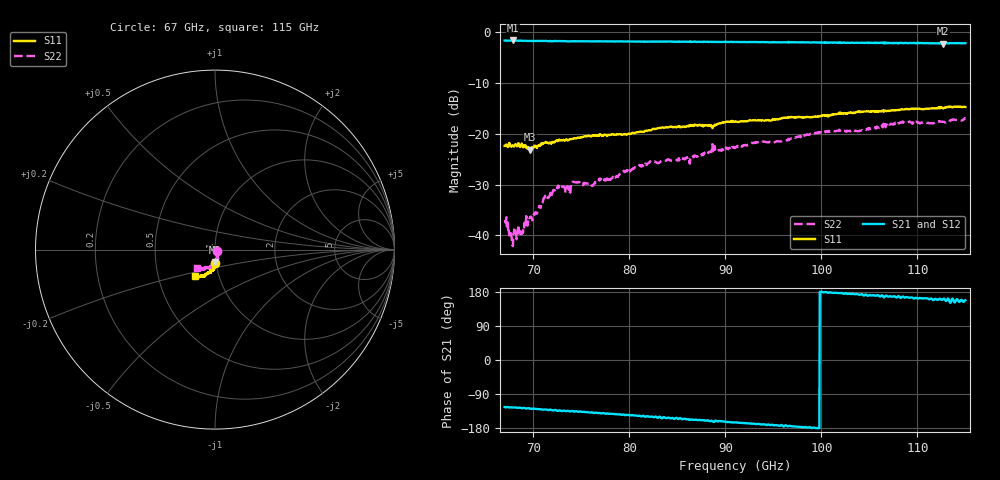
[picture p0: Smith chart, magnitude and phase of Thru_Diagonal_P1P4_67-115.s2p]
!Keysight Technologies,N5247B,MY61256062,A.16.20.04
!Date: Tuesday, November 18, 2025 10:35:23
!Correction: S11(C  2-Port  )
!S21(C  2-Port  )
!S12(C  2-Port  )
!S22(C  2-Port  )
!S2P File: Measurements: S11, S21, S12, S22:
# Hz S  dB  R 50
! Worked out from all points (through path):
!   1001 points, 67 GHz to 115 GHz, reference 50 ohm
!   highest |S21| = -1.60 dB at 67.86 GHz (marker M1); lowest = -2.2 dB at 112.6 GHz (marker M2)
!   group delay of S21, straight-line fit = 4.74 ps
!   lowest |S11| = -23.2 dB at 69.64 GHz (marker M3), VSWR 1.15, Z = 49.3 - j6.89 ohm
!   |S11| at or under -10 dB: start of sweep to end of sweep
!   |S22| runs from -42.2 to -16.9 dB; largest |S21 - S12| = 1.2
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6.7e10  -22.40 -89.7  -1.61 -124.2  -1.70 -69.3  -37.00 -32.1
6.7384e10  -22.38 -88.5  -1.63 -124.3  -1.66 -70.0  -39.13 -33.7
6.7624e10  -22.49 -91.5  -1.62 -125.0  -1.66 -70.1  -39.40 -42.0
6.7864e10  -22.44 -91.6  -1.60 -125.5  -1.65 -70.0  -42.15 -28.5
6.8776e10  -21.94 -91.9  -1.65 -127.0  -1.65 -70.5  -38.97 -49.6
6.964e10  -23.15 -91.8  -1.69 -128.4  -1.70 -71.5  -36.58 -60.8
7.012e10  -22.38 -90.0  -1.70 -128.7  -1.71 -72.3  -35.93 -61.6
7.1176e10  -21.75 -91.1  -1.68 -130.6  -1.69 -72.9  -32.49 -56.0
7.2328e10  -21.43 -88.8  -1.72 -132.0  -1.71 -74.5  -31.09 -53.1
7.3624e10  -21.26 -89.4  -1.79 -134.2  -1.74 -75.9  -30.43 -51.9
7.4152e10  -20.95 -88.3  -1.77 -135.4  -1.75 -75.7  -29.52 -49.0
7.5016e10  -20.70 -88.5  -1.77 -136.8  -1.74 -76.6  -30.01 -49.3
7.612e10  -20.41 -90.2  -1.77 -138.5  -1.77 -78.0  -30.28 -53.0
8.2264e10  -19.26 -93.2  -1.81 -149.3  -1.80 -83.3  -25.30 -72.7
8.3032e10  -18.86 -94.6  -1.83 -151.4  -1.81 -83.4  -25.76 -72.2
9.1e10  -17.56 -103.2  -1.91 -164.7  -1.88 -91.6  -22.77 -90.5
9.9016e10  -16.68 -110.3  -2.01 -179.6  -1.96 -98.5  -20.01 -105.3
1.03912e11  -15.71 -115.3  -2.08 172.5  -2.07 -103.6  -19.48 -113.0
1.07032e11  -15.51 -119.0  -2.08 167.6  -2.09 -107.6  -18.10 -120.7
1.12648e11  -14.90 -124.8  -2.23 159.9  -2.15 -113.3  -17.66 -127.3
1.13656e11  -14.77 -126.9  -2.15 162.2  -2.13 -118.6  -17.21 -132.6
1.15e11  -14.71 -128.1  -2.14 157.8  -2.14 -118.1  -16.96 -134.7
